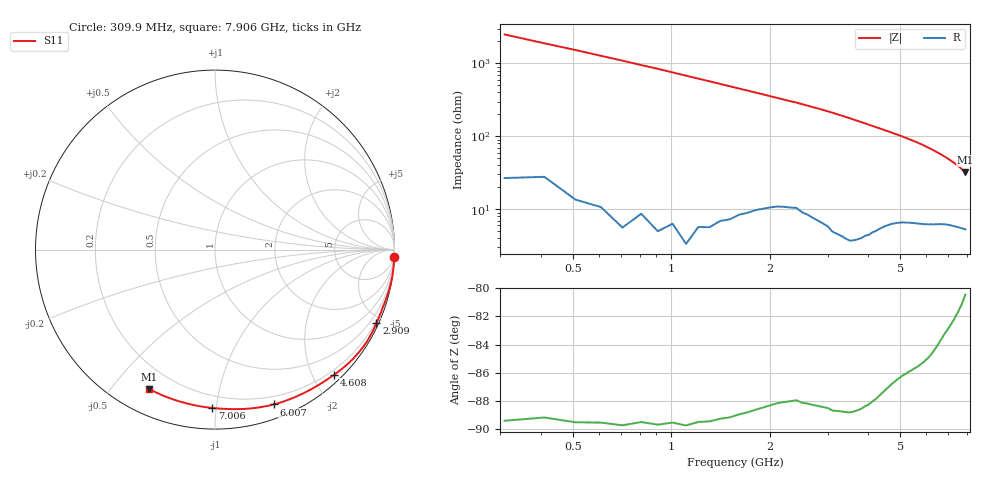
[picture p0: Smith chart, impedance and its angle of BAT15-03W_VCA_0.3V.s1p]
! Infineon Technologies  Discrete & RF Semiconductors
! BAT15-03W-E6327
! VCA = 0.3 V
! One-Port S-Parameters
# Hz  S  MA  R  50
!f  S11
!Hz  Mag  Ang
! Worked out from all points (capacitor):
!   77 points, 309.9 MHz to 7.906 GHz, reference 50 ohm
!   read as one part to ground: C = 206 fF near 309.9 MHz
!   lowest |Z| = 31.9 ohm at 7.906 GHz (marker M1)
!   S11 on the Smith chart (normalised r, x): 309.9 MHz: 1, -50; 2.909 GHz: 0.13, -4.60; 4.608 GHz: 0.12, -2.33; 6.007 GHz: 0.12, -1.44; 7.006 GHz: 0.12, -0.98; 7.906 GHz: 0.11, -0.63
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3.0985e8  0.9996 -2.3
9.0955e8  0.9993 -6.8
1.30935e9  0.9983 -10.1
1.70915e9  0.9951 -13.4
2.2089e9  0.9897 -17.8
2.4088e9  0.988 -19.5
2.90855e9  0.9886 -24.5
3.2084e9  0.9894 -27.9
3.4083e9  0.9892 -30.3
3.6082e9  0.9881 -32.8
3.90805e9  0.9829 -36.8
4.10795e9  0.9783 -39.5
4.30785e9  0.9726 -42.2
4.6077e9  0.9627 -46.4
5.10745e9  0.9473 -53.8
5.4073e9  0.9396 -58.5
5.6072e9  0.9344 -61.9
5.8071e9  0.9286 -65.5
6.007e9  0.9223 -69.3
6.30685e9  0.9111 -75.4
6.50675e9  0.9025 -79.6
6.70665e9  0.8937 -84.0
7.0065e9  0.8825 -91.0
7.10645e9  0.8795 -93.4
7.30635e9  0.8737 -98.5
7.50625e9  0.8683 -103.8
7.70615e9  0.8637 -109.3
7.90605e9  0.8592 -115.2
